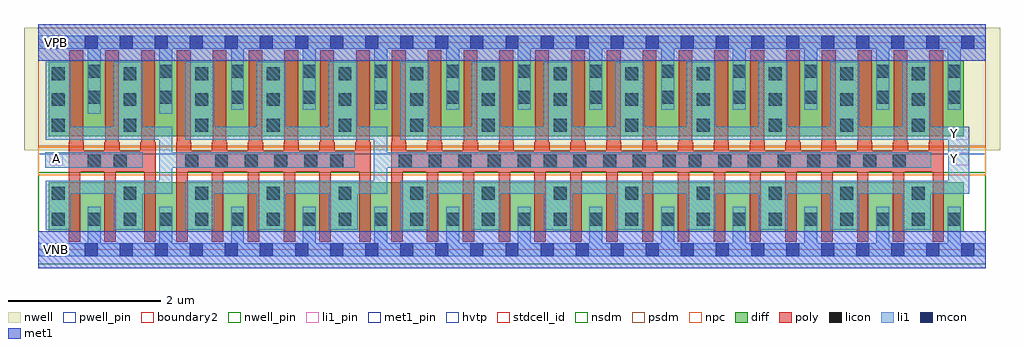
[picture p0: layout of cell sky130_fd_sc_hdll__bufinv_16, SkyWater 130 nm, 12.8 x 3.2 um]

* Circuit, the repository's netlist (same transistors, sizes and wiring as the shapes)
* Copyright 2020 The SkyWater PDK Authors
*
* Licensed under the Apache License, Version 2.0 (the "License");
* you may not use this file except in compliance with the License.
* You may obtain a copy of the License at
*
*     https://www.apache.org/licenses/LICENSE-2.0
*
* Unless required by applicable law or agreed to in writing, software
* distributed under the License is distributed on an "AS IS" BASIS,
* WITHOUT WARRANTIES OR CONDITIONS OF ANY KIND, either express or implied.
* See the License for the specific language governing permissions and
* limitations under the License.
*
* SPDX-License-Identifier: Apache-2.0

.SUBCKT sky130_fd_sc_hdll__bufinv_16 A VGND VNB VPB VPWR Y
*.PININFO A:I VGND:I VNB:I VPB:I VPWR:I Y:O
MMIN1 Ab A VGND VNB sky130_fd_pr__nfet_01v8 m=3 w=0.65U l=0.15U mult=1 sa=0.265
+ sb=0.265 sd=0.28 area=0.063 perim=1.14
MMIN2 Abb Ab VGND VNB sky130_fd_pr__nfet_01v8 m=6 w=0.65U l=0.15U mult=1 sa=0.265
+ sb=0.265 sd=0.28 area=0.063 perim=1.14
MMIN3 Y Abb VGND VNB sky130_fd_pr__nfet_01v8 m=16 w=0.65U l=0.15U mult=1 sa=0.265
+ sb=0.265 sd=0.28 area=0.063 perim=1.14
MMIP1 Ab A VPWR VPB sky130_fd_pr__pfet_01v8_hvt m=3 w=1.0U l=0.18U mult=1 sa=0.265
+ sb=0.265 sd=0.28 area=0.063 perim=1.14
MMIP2 Abb Ab VPWR VPB sky130_fd_pr__pfet_01v8_hvt m=6 w=1.0U l=0.18U mult=1 sa=0.265
+ sb=0.265 sd=0.28 area=0.063 perim=1.14
MMIP3 Y Abb VPWR VPB sky130_fd_pr__pfet_01v8_hvt m=16 w=1.0U l=0.18U mult=1 sa=0.265
+ sb=0.265 sd=0.28 area=0.063 perim=1.14
.ENDS sky130_fd_sc_hdll__bufinv_16

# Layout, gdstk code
import gdstk
lib = gdstk.Library(unit=1e-6, precision=1e-09)
def R(c, l, rs):  # rectangles x0, y0, x1, y1
    for r in rs: c.add(gdstk.rectangle(r[:2], r[2:], *l))
def A(c, l, x, y, w, h, nx, ny, dx, dy):  # array of equal rectangles
    R(c, l, [(x+i*dx, y+j*dy, x+i*dx+w, y+j*dy+h) for i in range(nx) for j in range(ny)])
def P(c, l, *ps):  # polygons
    for p in ps: c.add(gdstk.Polygon(p, *l))
nwell_pin = (64, 16)
nwell = (64, 20)
diff = (65, 20)
poly = (66, 20)
licon = (66, 44)
li1_pin = (67, 16)
li1 = (67, 20)
mcon = (67, 44)
met1_pin = (68, 16)
met1 = (68, 20)
hvtp = (78, 44)
stdcell_id = (81, 4)
nsdm = (93, 44)
psdm = (94, 20)
npc = (95, 20)
pwell_pin = (122, 16)
boundary2 = (236, 0)

sky130_fd_sc_hdll__bufin = lib.new_cell('sky130_fd_sc_hdll__bufinv_16')
R(sky130_fd_sc_hdll__bufin, nwell_pin, [(0.15,2.635,0.32,2.805)])
R(sky130_fd_sc_hdll__bufin, nwell, [(-0.19,1.305,12.61,2.91)])
R(sky130_fd_sc_hdll__bufin, diff, [(0.135,0.235,12.135,0.885), (0.135,1.485,12.135,2.485)])
P(sky130_fd_sc_hdll__bufin, poly, [(1.535,1.41),(1.525,1.41),(1.525,2.615),(1.345,2.615),(1.345,1.41),(1.335,1.41),(1.335,1.295),(1.065,1.295),(1.065,1.41),(1.055,1.41),(1.055,2.615),(0.875,2.615),(0.875,1.41),(0.865,1.41),(0.865,1.295),(0.595,1.295),(0.595,1.41),(0.585,1.41),(0.585,2.615),(0.405,2.615),(0.405,1.41),(0.395,1.41),(0.395,0.105),(0.545,0.105),(0.545,1.025),(0.865,1.025),(0.865,0.105),(1.015,0.105),(1.015,1.025),(1.385,1.025),(1.385,0.105),(1.535,0.105)],
  [(4.355,1.41),(4.345,1.41),(4.345,2.615),(4.165,2.615),(4.165,1.41),(4.155,1.41),(4.155,1.295),(3.885,1.295),(3.885,1.41),(3.875,1.41),(3.875,2.615),(3.695,2.615),(3.695,1.41),(3.685,1.41),(3.685,1.295),(3.415,1.295),(3.415,1.41),(3.405,1.41),(3.405,2.615),(3.225,2.615),(3.225,1.41),(3.215,1.41),(3.215,1.295),(2.945,1.295),(2.945,1.41),(2.935,1.41),(2.935,2.615),(2.755,2.615),(2.755,1.41),(2.745,1.41),(2.745,1.295),(2.475,1.295),(2.475,1.41),(2.465,1.41),(2.465,2.615),(2.285,2.615),(2.285,1.41),(2.275,1.41),(2.275,1.295),(2.005,1.295),(2.005,1.41),(1.995,1.41),(1.995,2.615),(1.815,2.615),(1.815,1.41),(1.805,1.41),(1.805,0.105),(1.955,0.105),(1.955,1.025),(2.275,1.025),(2.275,0.105),(2.425,0.105),(2.425,1.025),(2.745,1.025),(2.745,0.105),(2.895,0.105),(2.895,1.025),(3.215,1.025),(3.215,0.105),(3.365,0.105),(3.365,1.025),(3.685,1.025),(3.685,0.105),(3.835,0.105),(3.835,1.025),(4.205,1.025),(4.205,0.105),(4.355,0.105)],
  [(11.875,1.41),(11.865,1.41),(11.865,2.615),(11.685,2.615),(11.685,1.41),(11.675,1.41),(11.675,1.295),(11.405,1.295),(11.405,1.41),(11.395,1.41),(11.395,2.615),(11.215,2.615),(11.215,1.41),(11.205,1.41),(11.205,1.295),(10.935,1.295),(10.935,1.41),(10.925,1.41),(10.925,2.615),(10.745,2.615),(10.745,1.41),(10.735,1.41),(10.735,1.295),(10.465,1.295),(10.465,1.41),(10.455,1.41),(10.455,2.615),(10.275,2.615),(10.275,1.41),(10.265,1.41),(10.265,1.295),(9.995,1.295),(9.995,1.41),(9.985,1.41),(9.985,2.615),(9.805,2.615),(9.805,1.41),(9.795,1.41),(9.795,1.295),(9.525,1.295),(9.525,1.41),(9.515,1.41),(9.515,2.615),(9.335,2.615),(9.335,1.41),(9.325,1.41),(9.325,1.295),(9.055,1.295),(9.055,1.41),(9.045,1.41),(9.045,2.615),(8.865,2.615),(8.865,1.41),(8.855,1.41),(8.855,1.295),(8.585,1.295),(8.585,1.41),(8.575,1.41),(8.575,2.615),(8.395,2.615),(8.395,1.41),(8.385,1.41),(8.385,1.295),(8.115,1.295),(8.115,1.41),(8.105,1.41),(8.105,2.615),(7.925,2.615),(7.925,1.41),(7.915,1.41),(7.915,1.295),(7.645,1.295),(7.645,1.41),(7.635,1.41),(7.635,2.615),(7.455,2.615),(7.455,1.41),(7.445,1.41),(7.445,1.295),(7.175,1.295),(7.175,1.41),(7.165,1.41),(7.165,2.615),(6.985,2.615),(6.985,1.41),(6.975,1.41),(6.975,1.295),(6.705,1.295),(6.705,1.41),(6.695,1.41),(6.695,2.615),(6.515,2.615),(6.515,1.41),(6.505,1.41),(6.505,1.295),(6.235,1.295),(6.235,1.41),(6.225,1.41),(6.225,2.615),(6.045,2.615),(6.045,1.41),(6.035,1.41),(6.035,1.295),(5.765,1.295),(5.765,1.41),(5.755,1.41),(5.755,2.615),(5.575,2.615),(5.575,1.41),(5.565,1.41),(5.565,1.295),(5.295,1.295),(5.295,1.41),(5.285,1.41),(5.285,2.615),(5.105,2.615),(5.105,1.41),(5.095,1.41),(5.095,1.295),(4.825,1.295),(4.825,1.41),(4.815,1.41),(4.815,2.615),(4.635,2.615),(4.635,1.41),(4.625,1.41),(4.625,0.105),(4.775,0.105),(4.775,1.025),(5.095,1.025),(5.095,0.105),(5.245,0.105),(5.245,1.025),(5.565,1.025),(5.565,0.105),(5.715,0.105),(5.715,1.025),(6.035,1.025),(6.035,0.105),(6.185,0.105),(6.185,1.025),(6.505,1.025),(6.505,0.105),(6.655,0.105),(6.655,1.025),(6.975,1.025),(6.975,0.105),(7.125,0.105),(7.125,1.025),(7.445,1.025),(7.445,0.105),(7.595,0.105),(7.595,1.025),(7.915,1.025),(7.915,0.105),(8.065,0.105),(8.065,1.025),(8.385,1.025),(8.385,0.105),(8.535,0.105),(8.535,1.025),(8.855,1.025),(8.855,0.105),(9.005,0.105),(9.005,1.025),(9.325,1.025),(9.325,0.105),(9.475,0.105),(9.475,1.025),(9.795,1.025),(9.795,0.105),(9.945,0.105),(9.945,1.025),(10.265,1.025),(10.265,0.105),(10.415,0.105),(10.415,1.025),(10.735,1.025),(10.735,0.105),(10.885,0.105),(10.885,1.025),(11.205,1.025),(11.205,0.105),(11.355,0.105),(11.355,1.025),(11.725,1.025),(11.725,0.105),(11.875,0.105)])
A(sky130_fd_sc_hdll__bufin, licon, 0.175, 0.315, 0.17, 0.17, 26, 1, 0.47, 0)
A(sky130_fd_sc_hdll__bufin, licon, 0.175, 0.655, 0.17, 0.17, 13, 2, 0.94, 0.89)
A(sky130_fd_sc_hdll__bufin, licon, 1.925, 1.075, 0.17, 0.17, 5, 1, 0.39, 0)
A(sky130_fd_sc_hdll__bufin, licon, 4.725, 1.075, 0.17, 0.17, 5, 1, 0.39, 0)
A(sky130_fd_sc_hdll__bufin, licon, 6.625, 1.075, 0.17, 0.17, 5, 1, 0.39, 0)
A(sky130_fd_sc_hdll__bufin, licon, 8.525, 1.075, 0.17, 0.17, 6, 1, 0.39, 0)
A(sky130_fd_sc_hdll__bufin, licon, 0.175, 1.885, 0.17, 0.17, 13, 2, 0.94, 0.34)
A(sky130_fd_sc_hdll__bufin, licon, 0.645, 1.915, 0.17, 0.17, 13, 2, 0.94, 0.34)
R(sky130_fd_sc_hdll__bufin, licon, [(0.645,1.075,0.815,1.245), (0.985,1.075,1.155,1.245), (3.825,1.075,3.995,1.245), (10.815,1.075,10.985,1.245), (11.205,1.075,11.375,1.245)])
R(sky130_fd_sc_hdll__bufin, li1_pin, [(0.15,1.105,0.32,1.275), (12.03,1.105,12.2,1.275), (12.03,1.445,12.2,1.615)])
R(sky130_fd_sc_hdll__bufin, li1, [(0.09,1.075,1.365,1.275)])
P(sky130_fd_sc_hdll__bufin, li1, [(12.42,0.085),(12.095,0.085),(12.095,0.565),(11.925,0.565),(11.925,0.085),(11.155,0.085),(11.155,0.565),(10.985,0.565),(10.985,0.085),(10.215,0.085),(10.215,0.565),(10.045,0.565),(10.045,0.085),(9.275,0.085),(9.275,0.565),(9.105,0.565),(9.105,0.085),(8.335,0.085),(8.335,0.565),(8.165,0.565),(8.165,0.085),(7.395,0.085),(7.395,0.565),(7.225,0.565),(7.225,0.085),(6.455,0.085),(6.455,0.565),(6.285,0.565),(6.285,0.085),(5.515,0.085),(5.515,0.565),(5.345,0.565),(5.345,0.085),(4.575,0.085),(4.575,0.565),(4.405,0.565),(4.405,0.085),(3.635,0.085),(3.635,0.565),(3.465,0.565),(3.465,0.085),(2.695,0.085),(2.695,0.565),(2.525,0.565),(2.525,0.085),(1.755,0.085),(1.755,0.565),(1.585,0.565),(1.585,0.085),(0.815,0.085),(0.815,0.565),(0.645,0.565),(0.645,0.085),(0,0.085),(0,-0.085),(12.42,-0.085)],
  [(12.42,2.805),(0,2.805),(0,2.635),(0.645,2.635),(0.645,1.785),(0.815,1.785),(0.815,2.635),(1.585,2.635),(1.585,1.785),(1.755,1.785),(1.755,2.635),(2.525,2.635),(2.525,1.835),(2.695,1.835),(2.695,2.635),(3.465,2.635),(3.465,1.835),(3.635,1.835),(3.635,2.635),(4.405,2.635),(4.405,1.835),(4.575,1.835),(4.575,2.635),(5.345,2.635),(5.345,1.835),(5.515,1.835),(5.515,2.635),(6.285,2.635),(6.285,1.835),(6.455,1.835),(6.455,2.635),(7.225,2.635),(7.225,1.835),(7.395,1.835),(7.395,2.635),(8.165,2.635),(8.165,1.835),(8.335,1.835),(8.335,2.635),(9.105,2.635),(9.105,1.835),(9.275,1.835),(9.275,2.635),(10.045,2.635),(10.045,1.835),(10.215,1.835),(10.215,2.635),(10.985,2.635),(10.985,1.835),(11.155,1.835),(11.155,2.635),(11.925,2.635),(11.925,1.835),(12.095,1.835),(12.095,2.635),(12.42,2.635)],
  [(4.145,1.275),(1.755,1.275),(1.755,1.615),(1.365,1.615),(1.365,2.465),(0.985,2.465),(0.985,1.615),(0.425,1.615),(0.425,2.465),(0.095,2.465),(0.095,1.445),(1.585,1.445),(1.585,0.905),(0.095,0.905),(0.095,0.26),(0.425,0.26),(0.425,0.735),(0.985,0.735),(0.985,0.26),(1.365,0.26),(1.365,0.735),(1.755,0.735),(1.755,1.075),(4.145,1.075)],
  [(11.71,1.275),(4.575,1.275),(4.575,1.615),(4.185,1.615),(4.185,2.465),(3.805,2.465),(3.805,1.615),(3.245,1.615),(3.245,2.465),(2.865,2.465),(2.865,1.615),(2.305,1.615),(2.305,2.465),(1.925,2.465),(1.925,1.445),(4.4,1.445),(4.4,0.905),(1.925,0.905),(1.925,0.26),(2.305,0.26),(2.305,0.735),(2.865,0.735),(2.865,0.26),(3.245,0.26),(3.245,0.735),(3.805,0.735),(3.805,0.26),(4.185,0.26),(4.185,0.735),(4.575,0.735),(4.575,1.075),(11.71,1.075)],
  [(12.205,1.615),(11.705,1.615),(11.705,2.465),(11.325,2.465),(11.325,1.615),(10.765,1.615),(10.765,2.465),(10.385,2.465),(10.385,1.615),(9.825,1.615),(9.825,2.465),(9.445,2.465),(9.445,1.615),(8.885,1.615),(8.885,2.465),(8.505,2.465),(8.505,1.615),(7.945,1.615),(7.945,2.465),(7.565,2.465),(7.565,1.615),(7.005,1.615),(7.005,2.465),(6.625,2.465),(6.625,1.615),(6.065,1.615),(6.065,2.465),(5.685,2.465),(5.685,1.615),(5.125,1.615),(5.125,2.465),(4.745,2.465),(4.745,1.445),(11.93,1.445),(11.93,0.905),(4.745,0.905),(4.745,0.255),(5.045,0.255),(5.045,0.26),(5.125,0.26),(5.125,0.735),(5.685,0.735),(5.685,0.26),(5.815,0.26),(5.815,0.255),(5.985,0.255),(5.985,0.26),(6.065,0.26),(6.065,0.735),(6.625,0.735),(6.625,0.26),(6.755,0.26),(6.755,0.255),(6.925,0.255),(6.925,0.26),(7.005,0.26),(7.005,0.735),(7.565,0.735),(7.565,0.26),(7.945,0.26),(7.945,0.735),(8.505,0.735),(8.505,0.26),(8.885,0.26),(8.885,0.735),(9.445,0.735),(9.445,0.26),(9.825,0.26),(9.825,0.735),(10.385,0.735),(10.385,0.26),(10.765,0.26),(10.765,0.735),(11.325,0.735),(11.325,0.26),(11.705,0.26),(11.705,0.735),(12.205,0.735)])
A(sky130_fd_sc_hdll__bufin, mcon, 0.145, -0.085, 0.17, 0.17, 27, 2, 0.46, 2.72)
R(sky130_fd_sc_hdll__bufin, met1_pin, [(0.15,-0.085,0.32,0.085), (0.15,2.635,0.32,2.805)])
R(sky130_fd_sc_hdll__bufin, met1, [(0,-0.24,12.42,0.24), (0,2.48,12.42,2.96)])
R(sky130_fd_sc_hdll__bufin, hvtp, [(0,1.25,12.42,2.72)])
R(sky130_fd_sc_hdll__bufin, stdcell_id, [(0,0,12.42,2.72)])
R(sky130_fd_sc_hdll__bufin, nsdm, [(0,-0.19,12.42,1.015)])
R(sky130_fd_sc_hdll__bufin, psdm, [(0,1.355,12.42,2.91)])
R(sky130_fd_sc_hdll__bufin, npc, [(0,0.975,12.42,1.345)])
R(sky130_fd_sc_hdll__bufin, pwell_pin, [(0.15,-0.085,0.32,0.085)])
R(sky130_fd_sc_hdll__bufin, boundary2, [(0,0,12.42,2.72)])
sky130_fd_sc_hdll__bufin.add(gdstk.Label('A', (0.235,1.19), layer=67, texttype=5))
sky130_fd_sc_hdll__bufin.add(gdstk.Label('Y', (12.015,1.19), layer=67, texttype=5))
sky130_fd_sc_hdll__bufin.add(gdstk.Label('Y', (12.015,1.53), layer=67, texttype=5))
sky130_fd_sc_hdll__bufin.add(gdstk.Label('VNB', (0.235,0), layer=64, texttype=59))
sky130_fd_sc_hdll__bufin.add(gdstk.Label('VPB', (0.235,2.72), layer=64, texttype=5))
sky130_fd_sc_hdll__bufin.add(gdstk.Label('VGND', (0.23,0), layer=68, texttype=5))
sky130_fd_sc_hdll__bufin.add(gdstk.Label('VPWR', (0.23,2.72), layer=68, texttype=5))
sky130_fd_sc_hdll__bufin.add(gdstk.Label('bufinv_16', (0,0), layer=83, texttype=44))

lib.write_gds('sky130_fd_sc_hdll__bufinv_16.gds')
